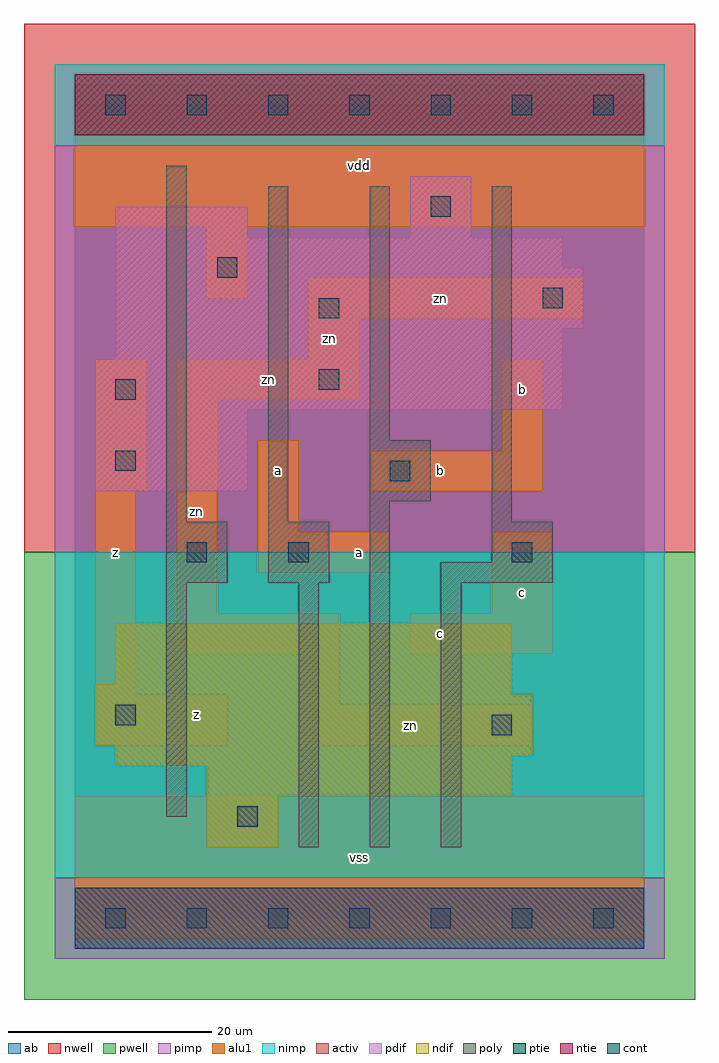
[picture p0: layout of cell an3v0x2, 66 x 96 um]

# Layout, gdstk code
import gdstk
lib = gdstk.Library(unit=1e-6, precision=1e-09)
def R(c, l, rs):  # rectangles x0, y0, x1, y1
    for r in rs: c.add(gdstk.rectangle(r[:2], r[2:], *l))
def A(c, l, x, y, w, h, nx, ny, dx, dy):  # array of equal rectangles
    R(c, l, [(x+i*dx, y+j*dy, x+i*dx+w, y+j*dy+h) for i in range(nx) for j in range(ny)])
ndif = (3, 0)
pdif = (4, 0)
ntie = (5, 0)
ptie = (6, 0)
cont = (25, 0)
pwell = (41, 0)
nwell = (42, 0)
activ = (43, 0)
pimp = (44, 0)
nimp = (45, 0)
poly = (46, 0)
alu1 = (49, 0)
ab = (63, 0)

an3v0x2 = lib.new_cell('an3v0x2')
R(an3v0x2, ndif, [(13,7,20,12), (13,12,43,15), (4,15,43,16), (4,16,45,17), (2,17,45,22), (2,22,43,23), (4,23,43,29)])
R(an3v0x2, pdif, [(2,42,17,50), (2,50,48,55), (4,55,48,58), (4,58,50,64), (4,64,48,67), (4,67,17,70), (33,67,39,73)])
R(an3v0x2, ntie, [(0,77,56,83)])
R(an3v0x2, ptie, [(0,-3,56,3)])
A(an3v0x2, cont, 3, -1, 2, 2, 7, 2, 8, 80)
R(an3v0x2, cont, [(16,9,18,11), (41,18,43,20), (4,19,6,21), (11,35,13,37), (21,35,23,37), (43,35,45,37), (31,43,33,45), (4,44,6,46), (4,51,6,53), (24,52,26,54), (24,59,26,61), (46,60,48,62), (14,63,16,65), (35,69,37,71)])
R(an3v0x2, pwell, [(-5,-8,61,36)])
R(an3v0x2, nwell, [(-5,36,61,88)])
R(an3v0x2, activ, [(0,-3,56,3), (13,7,20,12), (13,12,43,15), (4,15,43,16), (4,16,45,17), (2,17,45,22), (2,22,43,23), (4,23,43,29), (2,42,17,50), (2,50,48,55), (4,55,48,58), (4,58,50,64), (4,64,48,67), (4,67,17,70), (33,67,39,73), (0,77,56,83)])
R(an3v0x2, pimp, [(-2,-4,58,4), (-2,36,58,76)])
R(an3v0x2, nimp, [(-2,4,58,36), (-2,76,58,84)])
R(an3v0x2, poly, [(22,7,24,33), (29,7,31,41), (36,7,38,33), (9,10,11,33), (9,33,15,39), (19,33,25,39), (36,33,47,35), (41,35,47,39), (9,39,11,74), (19,39,21,72), (41,39,43,72), (29,41,35,47), (29,47,31,72)])
R(an3v0x2, alu1, [(0,-2,56,12), (2,17,15,22), (22,17,45,21), (22,21,26,26), (2,22,6,42), (10,26,26,30), (33,26,47,30), (10,30,14,51), (41,30,47,38), (18,34,31,38), (18,38,22,47), (2,42,7,55), (29,42,46,46), (42,46,46,55), (10,51,28,55), (23,55,28,59), (23,59,50,63), (13,61,17,68), (0,68,56,82)])
R(an3v0x2, ab, [(0,0,56,80)])
an3v0x2.add(gdstk.Label('zn', (12,40), layer=49, texttype=0))
an3v0x2.add(gdstk.Label('zn', (19,53), layer=49, texttype=0))
an3v0x2.add(gdstk.Label('zn', (25,57), layer=49, texttype=0))
an3v0x2.add(gdstk.Label('zn', (33,19), layer=49, texttype=0))
an3v0x2.add(gdstk.Label('zn', (36,61), layer=49, texttype=0))
an3v0x2.add(gdstk.Label('z', (4,36), layer=49, texttype=0))
an3v0x2.add(gdstk.Label('z', (12,20), layer=49, texttype=0))
an3v0x2.add(gdstk.Label('a', (20,44), layer=49, texttype=0))
an3v0x2.add(gdstk.Label('vss', (28,6), layer=49, texttype=0))
an3v0x2.add(gdstk.Label('a', (28,36), layer=49, texttype=0))
an3v0x2.add(gdstk.Label('c', (36,28), layer=49, texttype=0))
an3v0x2.add(gdstk.Label('b', (36,44), layer=49, texttype=0))
an3v0x2.add(gdstk.Label('vdd', (28,74), layer=49, texttype=0))
an3v0x2.add(gdstk.Label('c', (44,32), layer=49, texttype=0))
an3v0x2.add(gdstk.Label('b', (44,52), layer=49, texttype=0))

lib.write_gds('an3v0x2.gds')
